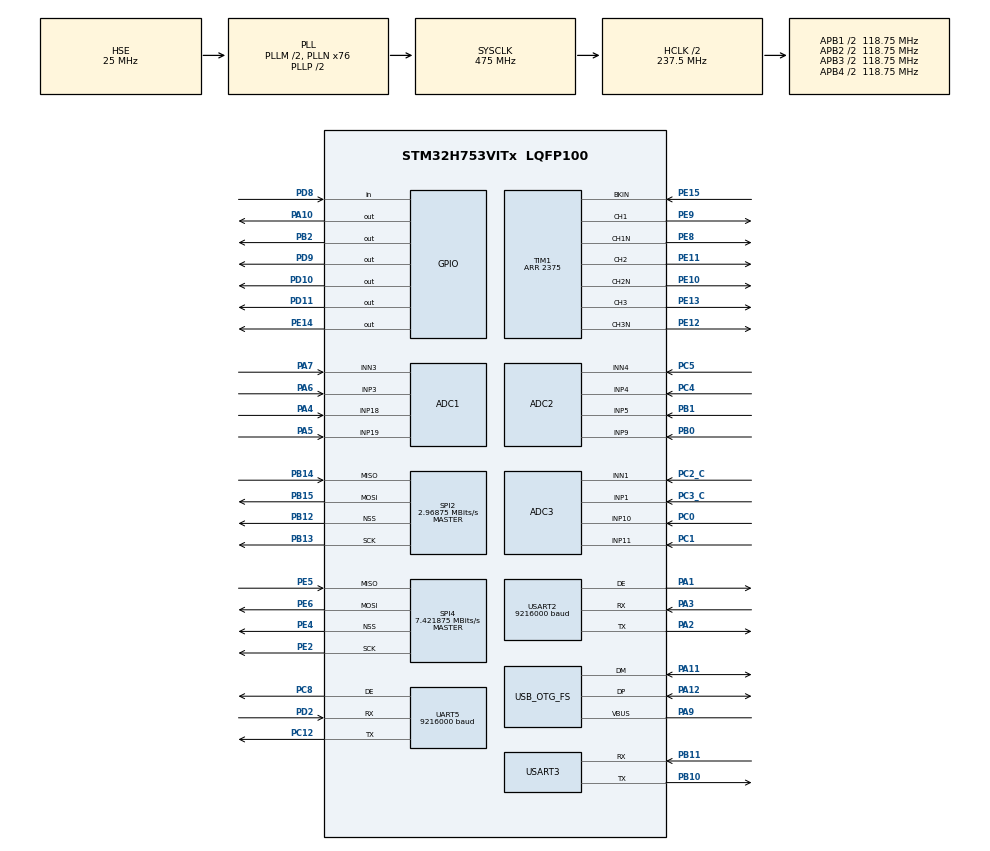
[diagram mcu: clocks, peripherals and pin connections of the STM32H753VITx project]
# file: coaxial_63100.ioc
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ADC1.Channel-0\#ChannelRegularConversion=ADC_CHANNEL_3
ADC1.ClockPrescaler=ADC_CLOCK_ASYNC_DIV2
ADC1.NbrOfConversionFlag=1
ADC1.OffsetNumber-0\#ChannelRegularConversion=ADC_OFFSET_NONE
ADC1.OffsetSignedSaturation-0\#ChannelRegularConversion=DISABLE
ADC1.Rank-0\#ChannelRegularConversion=1
ADC1.SamplingTime-0\#ChannelRegularConversion=ADC_SAMPLETIME_1CYCLE_5
ADC1.SingleDiff-0\#ChannelRegularConversion=ADC_DIFFERENTIAL_ENDED
ADC1.master=1
ADC2.Channel-1\#ChannelRegularConversion=ADC_CHANNEL_4
ADC2.ClockPrescaler=ADC_CLOCK_ASYNC_DIV2
ADC2.NbrOfConversionFlag=1
ADC2.OffsetNumber-1\#ChannelRegularConversion=ADC_OFFSET_NONE
ADC2.OffsetSignedSaturation-1\#ChannelRegularConversion=DISABLE
ADC2.Rank-1\#ChannelRegularConversion=1
ADC2.SamplingTime-1\#ChannelRegularConversion=ADC_SAMPLETIME_1CYCLE_5
ADC2.SingleDiff-1\#ChannelRegularConversion=ADC_DIFFERENTIAL_ENDED
ADC3.Channel-0\#ChannelRegularConversion=ADC_CHANNEL_1
ADC3.ClockPrescaler=ADC_CLOCK_ASYNC_DIV2
ADC3.NbrOfConversionFlag=1
ADC3.OffsetNumber-0\#ChannelRegularConversion=ADC_OFFSET_NONE
ADC3.OffsetSignedSaturation-0\#ChannelRegularConversion=DISABLE
ADC3.Rank-0\#ChannelRegularConversion=1
ADC3.SamplingTime-0\#ChannelRegularConversion=ADC_SAMPLETIME_1CYCLE_5
ADC3.SingleDiff-0\#ChannelRegularConversion=ADC_DIFFERENTIAL_ENDED
CORTEX_M7.default_mode_Activation=1
Mcu.Family=STM32H7
Mcu.Name=STM32H753VITx
Mcu.Package=LQFP100
NVIC.ADC3_IRQn=true\:1\:0\:false\:false\:true\:true\:true\:true
NVIC.OTG_FS_IRQn=true\:5\:0\:false\:false\:true\:true\:true\:true
NVIC.PriorityGroup=NVIC_PRIORITYGROUP_4
PA1.Mode=Hardware Flow Control (RS485)
PA1.Signal=USART2_DE
PA10.Signal=GPIO_Output
PA11.Mode=Device_Only
PA11.Signal=USB_OTG_FS_DM
PA12.Mode=Device_Only
PA12.Signal=USB_OTG_FS_DP
PA13\ (JTMS/SWDIO).Mode=JTAG_5_pins
PA13\ (JTMS/SWDIO).Signal=DEBUG_JTMS-SWDIO
PA14\ (JTCK/SWCLK).Mode=JTAG_5_pins
PA14\ (JTCK/SWCLK).Signal=DEBUG_JTCK-SWCLK
PA15\ (JTDI).Mode=JTAG_5_pins
PA15\ (JTDI).Signal=DEBUG_JTDI
PA2.Mode=Asynchronous
PA2.Signal=USART2_TX
PA3.Mode=Asynchronous
PA3.Signal=USART2_RX
PA4.Signal=ADCx_INP18
PA5.Signal=ADCx_INP19
PA6.Signal=ADCx_INP3
PA7.Signal=ADCx_INN3
PA9.Mode=Activate_VBUS
PA9.Signal=USB_OTG_FS_VBUS
PB0.Signal=ADCx_INP9
PB1.Signal=ADCx_INP5
PB10.Mode=Asynchronous
PB10.Signal=USART3_TX
PB11.Mode=Asynchronous
PB11.Signal=USART3_RX
PB12.Mode=NSS_Signal_Hard_Output
PB12.Signal=SPI2_NSS
PB13.Mode=Full_Duplex_Master
PB13.Signal=SPI2_SCK
PB14.Mode=Full_Duplex_Master
PB14.Signal=SPI2_MISO
PB15.Mode=Full_Duplex_Master
PB15.Signal=SPI2_MOSI
PB2.Signal=GPIO_Output
PB3\ (JTDO/TRACESWO).Mode=JTAG_5_pins
PB3\ (JTDO/TRACESWO).Signal=DEBUG_JTDO-SWO
PB4\ (NJTRST).Mode=JTAG_5_pins
PB4\ (NJTRST).Signal=DEBUG_JTRST
PC0.Signal=ADCx_INP10
PC1.Signal=ADCx_INP11
PC12.Mode=Asynchronous
PC12.Signal=UART5_TX
PC2_C.Mode=IN1-Differential
PC2_C.Signal=ADC3_INN1
PC3_C.Mode=IN1-Differential
PC3_C.Signal=ADC3_INP1
PC4.Signal=ADCx_INP4
PC5.Signal=ADCx_INN4
PC8.Mode=Hardware Flow Control (RS485)
PC8.Signal=UART5_DE
PD10.Signal=GPIO_Output
PD11.Signal=GPIO_Output
PD2.Mode=Asynchronous
PD2.Signal=UART5_RX
PD8.Signal=GPIO_Input
PD9.Signal=GPIO_Output
PE10.GPIO_Speed=GPIO_SPEED_FREQ_VERY_HIGH
PE10.Mode=PWM Generation2 CH2 CH2N
PE10.Signal=TIM1_CH2N
PE11.GPIO_Speed=GPIO_SPEED_FREQ_VERY_HIGH
PE11.Signal=S_TIM1_CH2
PE12.GPIO_Speed=GPIO_SPEED_FREQ_VERY_HIGH
PE12.Mode=PWM Generation3 CH3 CH3N
PE12.Signal=TIM1_CH3N
PE13.GPIO_Speed=GPIO_SPEED_FREQ_VERY_HIGH
PE13.Signal=S_TIM1_CH3
PE14.Signal=GPIO_Output
PE15.Mode=Activate-Break-Input
PE15.Signal=TIM1_BKIN
PE2.Mode=Full_Duplex_Master
PE2.Signal=SPI4_SCK
PE4.Mode=NSS_Signal_Hard_Output
PE4.Signal=SPI4_NSS
PE5.Mode=Full_Duplex_Master
PE5.Signal=SPI4_MISO
PE6.Mode=Full_Duplex_Master
PE6.Signal=SPI4_MOSI
PE8.GPIO_Speed=GPIO_SPEED_FREQ_VERY_HIGH
PE8.Mode=PWM Generation1 CH1 CH1N
PE8.Signal=TIM1_CH1N
PE9.GPIO_Speed=GPIO_SPEED_FREQ_VERY_HIGH
PE9.Signal=S_TIM1_CH1
PH0-OSC_IN\ (PH0).Mode=HSE-External-Oscillator
PH0-OSC_IN\ (PH0).Signal=RCC_OSC_IN
PH1-OSC_OUT\ (PH1).Mode=HSE-External-Oscillator
PH1-OSC_OUT\ (PH1).Signal=RCC_OSC_OUT
ProjectManager.HeapSize=0x200
ProjectManager.StackSize=0x400
ProjectManager.TargetToolchain=CMake
RCC.ADCFreq_Value=75000000
RCC.APB1Freq_Value=118750000
RCC.APB2Freq_Value=118750000
RCC.APB3Freq_Value=118750000
RCC.APB4Freq_Value=118750000
RCC.CortexFreq_Value=475000000
RCC.D1PPRE=RCC_APB3_DIV2
RCC.D2PPRE1=RCC_APB1_DIV2
RCC.D2PPRE2=RCC_APB2_DIV2
RCC.D3PPRE=RCC_APB4_DIV2
RCC.DIVM1=2
RCC.DIVM2=2
RCC.DIVM3=5
RCC.DIVN1=76
RCC.DIVN2=12
RCC.DIVN3=96
RCC.DIVQ1=5
RCC.DIVQ3=10
RCC.DIVR1=12
RCC.HCLKFreq_Value=237500000
RCC.HPRE=RCC_HCLK_DIV2
RCC.PLL2FRACN=0
RCC.PLL3FRACN=0
RCC.PLL3RGE=RCC_PLL3VCIRANGE_2
RCC.PLL3VCOSEL=RCC_PLL3VCOWIDE
RCC.PLLFRACN=0
RCC.PLLSourceVirtual=RCC_PLLSOURCE_HSE
RCC.SYSCLKFreq_VALUE=475000000
RCC.SYSCLKSource=RCC_SYSCLKSOURCE_PLLCLK
RCC.USBCLockSelection=RCC_USBCLKSOURCE_PLL3
RCC.USBFreq_Value=48000000
SH.ADCx_INN3.0=ADC1_INN3,IN3-Differential
SH.ADCx_INN4.0=ADC2_INN4,IN4-Differential
SH.ADCx_INP10.0=ADC3_INP10,IN10-Single-Ended
SH.ADCx_INP11.0=ADC3_INP11,IN11-Single-Ended
SH.ADCx_INP18.0=ADC1_INP18,IN18-Single-Ended
SH.ADCx_INP19.0=ADC1_INP19,IN19-Single-Ended
SH.ADCx_INP3.0=ADC1_INP3,IN3-Differential
SH.ADCx_INP4.0=ADC2_INP4,IN4-Differential
SH.ADCx_INP5.0=ADC2_INP5,IN5-Single-Ended
SH.ADCx_INP9.0=ADC2_INP9,IN9-Single-Ended
SH.S_TIM1_CH1.0=TIM1_CH1,PWM Generation1 CH1 CH1N
SH.S_TIM1_CH2.0=TIM1_CH2,PWM Generation2 CH2 CH2N
SH.S_TIM1_CH3.0=TIM1_CH3,PWM Generation3 CH3 CH3N
SPI2.BaudRatePrescaler=SPI_BAUDRATEPRESCALER_64
SPI2.CLKPhase=SPI_PHASE_2EDGE
SPI2.CLKPolarity=SPI_POLARITY_HIGH
SPI2.CalculateBaudRate=2.96875 MBits/s
SPI2.DataSize=SPI_DATASIZE_8BIT
SPI2.Direction=SPI_DIRECTION_2LINES
SPI2.Mode=SPI_MODE_MASTER
SPI2.VirtualNSS=VM_NSSHARD
SPI2.VirtualType=VM_MASTER
SPI4.BaudRatePrescaler=SPI_BAUDRATEPRESCALER_16
SPI4.CLKPhase=SPI_PHASE_2EDGE
SPI4.CLKPolarity=SPI_POLARITY_HIGH
SPI4.CalculateBaudRate=7.421875 MBits/s
SPI4.DataSize=SPI_DATASIZE_8BIT
SPI4.Direction=SPI_DIRECTION_2LINES
SPI4.Mode=SPI_MODE_MASTER
SPI4.VirtualNSS=VM_NSSHARD
SPI4.VirtualType=VM_MASTER
TIM1.AutoReloadPreload=TIM_AUTORELOAD_PRELOAD_ENABLE
TIM1.BreakPolarity=TIM_BREAKPOLARITY_LOW
TIM1.Channel-PWM\ Generation1\ CH1\ CH1N=TIM_CHANNEL_1
TIM1.Channel-PWM\ Generation2\ CH2\ CH2N=TIM_CHANNEL_2
TIM1.Channel-PWM\ Generation3\ CH3\ CH3N=TIM_CHANNEL_3
TIM1.Channel-PWM\ Generation5\ No\ Output=TIM_CHANNEL_5
TIM1.CounterMode=TIM_COUNTERMODE_CENTERALIGNED3
TIM1.DeadTime=19
TIM1.OffStateIDLEMode=TIM_OSSI_ENABLE
TIM1.OffStateRunMode=TIM_OSSR_ENABLE
TIM1.Period=2375
TIM1.RepetitionCounter=1
UART5.BaudRate=9216000
UART5.OverSampling=UART_OVERSAMPLING_8
USART2.BaudRate=9216000
USART2.OverSampling=UART_OVERSAMPLING_8
USART2.VirtualMode-Asynchronous=VM_ASYNC
USART2.VirtualMode-Hardware\ Flow\ Control\ (RS485)=VM_ASYNC
USART3.VirtualMode-Asynchronous=VM_ASYNC
USB_OTG_FS.VirtualMode=Device_Only
USB_OTG_FS.battery_charging_enable=DISABLE
VP_MEMORYMAP_VS_MEMORYMAP.Mode=CurAppReg
VP_TIM1_VS_ClockSourceINT.Mode=Internal
VP_TIM1_VS_no_output5.Mode=PWM Generation5 No Output
VP_VREFBUF_V_VREFBUF.Mode=ExternalMode
board=custom

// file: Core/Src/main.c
/* USER CODE BEGIN Header */
/**
  ******************************************************************************
  * @file           : main.c
  * @brief          : Main program body
  ******************************************************************************
  * @attention
  *
  * Copyright (c) 2026 STMicroelectronics.
  * All rights reserved.
  *
  * This software is licensed under terms that can be found in the LICENSE file
  * in the root directory of this software component.
  * If no LICENSE file comes with this software, it is provided AS-IS.
  *
  ******************************************************************************
  */
/* USER CODE END Header */
#include "main.h"

/* USER CODE BEGIN Includes */
#include "board.h"
#include "board_drive.h"
#include "board_power.h"
#include "console.h"
#include "link.h"
/* USER CODE END Includes */

ADC_HandleTypeDef hadc1;
ADC_HandleTypeDef hadc2;
ADC_HandleTypeDef hadc3;

SPI_HandleTypeDef hspi2;
SPI_HandleTypeDef hspi4;

TIM_HandleTypeDef htim1;

UART_HandleTypeDef huart5;
UART_HandleTypeDef huart2;
UART_HandleTypeDef huart3;

PCD_HandleTypeDef hpcd_USB_OTG_FS;

void SystemClock_Config(void);
void PeriphCommonClock_Config(void);
static void MPU_Config(void);
static void MX_GPIO_Init(void);
static void MX_USART3_UART_Init(void);
static void MX_ADC1_Init(void);
static void MX_ADC2_Init(void);
static void MX_ADC3_Init(void);
static void MX_SPI2_Init(void);
static void MX_SPI4_Init(void);
static void MX_UART5_Init(void);
static void MX_USART2_UART_Init(void);
static void MX_TIM1_Init(void);
static void MX_USB_OTG_FS_PCD_Init(void);

int main(void)
{

  /* MPU Configuration--------------------------------------------------------*/
  MPU_Config();

  /* MCU Configuration--------------------------------------------------------*/

  /* Reset of all peripherals, Initializes the Flash interface and the Systick. */
  HAL_Init();

  /* Configure the system clock */
  SystemClock_Config();

  /* Configure the peripherals common clocks */
  PeriphCommonClock_Config();

  /* Initialize all configured peripherals */
  MX_GPIO_Init();
  MX_USART3_UART_Init();
  MX_ADC1_Init();
  MX_ADC2_Init();
  MX_ADC3_Init();
  MX_SPI2_Init();
  MX_SPI4_Init();
  MX_UART5_Init();
  MX_USART2_UART_Init();
  MX_TIM1_Init();
  MX_USB_OTG_FS_PCD_Init();
  /* USER CODE BEGIN 2 */

  /* Gates down first. MX_TIM1_Init leaves MOE and CCxE clear, which is
     Hi-Z on six gate driver inputs; this drives them to their idle
     level. */
  Board_PwmInit();

  /* Before anything reads a channel: the scaling parameters and the
     per-channel corrections come out of flash here, or fall back to the
     schematic's numbers. */
  Board_CalInit();

  /* The dead time comes from the record, and so has to wait for it. Board_
     PwmInit runs first because it drives the gates down, and it cannot wait
     on flash to do that - so the .ioc's value stands for those few
     microseconds and this replaces it. Nothing is armed in between. */
  (void)Board_PwmSetDeadTime(Board_Cal()->deadtime_ns);
  (void)Board_PwmSetDeadTimeSkew((int8_t)Board_Cal()->deadtime_skew);

  /* Differential-mode offset calibration, recommended before first use for
     absolute accuracy rather than mere repeatability. Note that it runs with
     AFE_ON still low, so it calibrates against an unpowered input - which is
     why the offsets vary by about 100 mV from boot to boot. */
  if (HAL_ADCEx_Calibration_Start(&hadc1, ADC_CALIB_OFFSET, ADC_DIFFERENTIAL_ENDED) != HAL_OK ||
      HAL_ADCEx_Calibration_Start(&hadc2, ADC_CALIB_OFFSET, ADC_DIFFERENTIAL_ENDED) != HAL_OK ||
      HAL_ADCEx_Calibration_Start(&hadc3, ADC_CALIB_OFFSET, ADC_DIFFERENTIAL_ENDED) != HAL_OK)
  {
    Error_Handler();
  }

  Board_TimebaseInit();
  link_init();
  Console_Banner();

  /* The thermal observer. Starts on the NTC if the AFE happens to be up,
     otherwise on a guess the anchoring removes within a few minutes. */
  Board_ThermalInit();

  /* The control law: parameters out of the record, the period off TIM1.
     Nothing switches until a host asks for a mode. */
  Board_DriveInit();

  /* USER CODE END 2 */

  /* Infinite loop */
  /* USER CODE BEGIN WHILE */
  while (1)
  {
    /* First, and outside every branch below: the STO chain's only
       evidence that main() is still turning. link_active() does a
       `continue`, so anything further down stops the moment Modbus
       gets busy - and a keepalive that stops when the board is busy
       is a keepalive that lies. */
    Board_StoKeepalive();

    /* Beside it, and for the same reason: this is what gives a rail
       back when its owner stopped running, so it cannot sit behind
       the branch that starved the owner. */
    Board_PowerPoll();

    /* The IMU polls itself into shared memory; the host only ever reads that.
       Held off mid-frame because a 276-byte cargo at 1.48 MHz is 1.5 ms, and
       RTU delimits frames by silence. */
    if (!link_busy())
    {
      Board_ImuPoll();
      Board_AnglePoll();
      Board_DaqPoll();

      /* Arithmetic over cached state plus one NTC read, gated to 10 Hz
         inside. Here rather than above the branch because it reads a
         channel, and a converter read mid-frame is what the branch is
         for. */
      Board_ThermalPoll();
    }

    if (link_active())
    {
      /* Modbus owns USART3. No console polling and, above all, no printf:
         a blocking transmit in the middle of a frame would corrupt RTU
         framing and stall reception long enough to latch an overrun. */
      link_poll();
      continue;
    }

    Console_Poll();

    /* USER CODE END WHILE */

  }
}

void SystemClock_Config(void)
{
  RCC_OscInitTypeDef RCC_OscInitStruct = {0};
  RCC_ClkInitTypeDef RCC_ClkInitStruct = {0};

  /** Supply configuration update enable
  */
  HAL_PWREx_ConfigSupply(PWR_LDO_SUPPLY);

  /** Configure the main internal regulator output voltage
  */
  __HAL_PWR_VOLTAGESCALING_CONFIG(PWR_REGULATOR_VOLTAGE_SCALE0);

  while(!__HAL_PWR_GET_FLAG(PWR_FLAG_VOSRDY)) {}

  /** Initializes the RCC Oscillators according to the specified parameters
  * in the RCC_OscInitTypeDef structure.
  */
  RCC_OscInitStruct.OscillatorType = RCC_OSCILLATORTYPE_HSE;
  RCC_OscInitStruct.HSEState = RCC_HSE_ON;
  RCC_OscInitStruct.PLL.PLLState = RCC_PLL_ON;
  RCC_OscInitStruct.PLL.PLLSource = RCC_PLLSOURCE_HSE;
  RCC_OscInitStruct.PLL.PLLM = 2;
  RCC_OscInitStruct.PLL.PLLN = 76;
  RCC_OscInitStruct.PLL.PLLP = 2;
  RCC_OscInitStruct.PLL.PLLQ = 5;
  RCC_OscInitStruct.PLL.PLLR = 12;
  RCC_OscInitStruct.PLL.PLLRGE = RCC_PLL1VCIRANGE_3;
  RCC_OscInitStruct.PLL.PLLVCOSEL = RCC_PLL1VCOWIDE;
  RCC_OscInitStruct.PLL.PLLFRACN = 0;
  if (HAL_RCC_OscConfig(&RCC_OscInitStruct) != HAL_OK)
  {
    Error_Handler();
  }

  /** Initializes the CPU, AHB and APB buses clocks
  */
  RCC_ClkInitStruct.ClockType = RCC_CLOCKTYPE_HCLK|RCC_CLOCKTYPE_SYSCLK
                              |RCC_CLOCKTYPE_PCLK1|RCC_CLOCKTYPE_PCLK2
                              |RCC_CLOCKTYPE_D3PCLK1|RCC_CLOCKTYPE_D1PCLK1;
  RCC_ClkInitStruct.SYSCLKSource = RCC_SYSCLKSOURCE_PLLCLK;
  RCC_ClkInitStruct.SYSCLKDivider = RCC_SYSCLK_DIV1;
  RCC_ClkInitStruct.AHBCLKDivider = RCC_HCLK_DIV2;
  RCC_ClkInitStruct.APB3CLKDivider = RCC_APB3_DIV2;
  RCC_ClkInitStruct.APB1CLKDivider = RCC_APB1_DIV2;
  RCC_ClkInitStruct.APB2CLKDivider = RCC_APB2_DIV2;
  RCC_ClkInitStruct.APB4CLKDivider = RCC_APB4_DIV2;

  if (HAL_RCC_ClockConfig(&RCC_ClkInitStruct, FLASH_LATENCY_4) != HAL_OK)
  {
    Error_Handler();
  }
}

void PeriphCommonClock_Config(void)
{
  RCC_PeriphCLKInitTypeDef PeriphClkInitStruct = {0};

  /** Initializes the peripherals clock
  */
  PeriphClkInitStruct.PeriphClockSelection = RCC_PERIPHCLK_ADC;
  PeriphClkInitStruct.PLL2.PLL2M = 2;
  PeriphClkInitStruct.PLL2.PLL2N = 12;
  PeriphClkInitStruct.PLL2.PLL2P = 2;
  PeriphClkInitStruct.PLL2.PLL2Q = 2;
  PeriphClkInitStruct.PLL2.PLL2R = 2;
  PeriphClkInitStruct.PLL2.PLL2RGE = RCC_PLL2VCIRANGE_3;
  PeriphClkInitStruct.PLL2.PLL2VCOSEL = RCC_PLL2VCOMEDIUM;
  PeriphClkInitStruct.PLL2.PLL2FRACN = 0;
  PeriphClkInitStruct.PLL3.PLL3RGE = RCC_PLL3VCIRANGE_2;
  PeriphClkInitStruct.AdcClockSelection = RCC_ADCCLKSOURCE_PLL2;
  if (HAL_RCCEx_PeriphCLKConfig(&PeriphClkInitStruct) != HAL_OK)
  {
    Error_Handler();
  }
}

static void MX_ADC1_Init(void)
{

  ADC_MultiModeTypeDef multimode = {0};
  ADC_ChannelConfTypeDef sConfig = {0};

  /** Common config
  */
  hadc1.Instance = ADC1;
  hadc1.Init.ClockPrescaler = ADC_CLOCK_ASYNC_DIV2;
  hadc1.Init.Resolution = ADC_RESOLUTION_16B;
  hadc1.Init.ScanConvMode = ADC_SCAN_DISABLE;
  hadc1.Init.EOCSelection = ADC_EOC_SINGLE_CONV;
  hadc1.Init.LowPowerAutoWait = DISABLE;
  hadc1.Init.ContinuousConvMode = DISABLE;
  hadc1.Init.NbrOfConversion = 1;
  hadc1.Init.DiscontinuousConvMode = DISABLE;
  hadc1.Init.ExternalTrigConv = ADC_SOFTWARE_START;
  hadc1.Init.ExternalTrigConvEdge = ADC_EXTERNALTRIGCONVEDGE_NONE;
  hadc1.Init.ConversionDataManagement = ADC_CONVERSIONDATA_DR;
  hadc1.Init.Overrun = ADC_OVR_DATA_PRESERVED;
  hadc1.Init.LeftBitShift = ADC_LEFTBITSHIFT_NONE;
  hadc1.Init.OversamplingMode = DISABLE;
  hadc1.Init.Oversampling.Ratio = 1;
  if (HAL_ADC_Init(&hadc1) != HAL_OK)
  {
    Error_Handler();
  }

  /** Configure the ADC multi-mode
  */
  multimode.Mode = ADC_MODE_INDEPENDENT;
  if (HAL_ADCEx_MultiModeConfigChannel(&hadc1, &multimode) != HAL_OK)
  {
    Error_Handler();
  }

  /** Configure Regular Channel
  */
  sConfig.Channel = ADC_CHANNEL_3;
  sConfig.Rank = ADC_REGULAR_RANK_1;
  sConfig.SamplingTime = ADC_SAMPLETIME_1CYCLE_5;
  sConfig.SingleDiff = ADC_DIFFERENTIAL_ENDED;
  sConfig.OffsetNumber = ADC_OFFSET_NONE;
  sConfig.Offset = 0;
  sConfig.OffsetSignedSaturation = DISABLE;
  if (HAL_ADC_ConfigChannel(&hadc1, &sConfig) != HAL_OK)
  {
    Error_Handler();
  }

}

static void MX_ADC2_Init(void)
{

  ADC_ChannelConfTypeDef sConfig = {0};

  /** Common config
  */
  hadc2.Instance = ADC2;
  hadc2.Init.ClockPrescaler = ADC_CLOCK_ASYNC_DIV2;
  hadc2.Init.Resolution = ADC_RESOLUTION_16B;
  hadc2.Init.ScanConvMode = ADC_SCAN_DISABLE;
  hadc2.Init.EOCSelection = ADC_EOC_SINGLE_CONV;
  hadc2.Init.LowPowerAutoWait = DISABLE;
  hadc2.Init.ContinuousConvMode = DISABLE;
  hadc2.Init.NbrOfConversion = 1;
  hadc2.Init.DiscontinuousConvMode = DISABLE;
  hadc2.Init.ExternalTrigConv = ADC_SOFTWARE_START;
  hadc2.Init.ExternalTrigConvEdge = ADC_EXTERNALTRIGCONVEDGE_NONE;
  hadc2.Init.ConversionDataManagement = ADC_CONVERSIONDATA_DR;
  hadc2.Init.Overrun = ADC_OVR_DATA_PRESERVED;
  hadc2.Init.LeftBitShift = ADC_LEFTBITSHIFT_NONE;
  hadc2.Init.OversamplingMode = DISABLE;
  hadc2.Init.Oversampling.Ratio = 1;
  if (HAL_ADC_Init(&hadc2) != HAL_OK)
  {
    Error_Handler();
  }

  /** Configure Regular Channel
  */
  sConfig.Channel = ADC_CHANNEL_4;
  sConfig.Rank = ADC_REGULAR_RANK_1;
  sConfig.SamplingTime = ADC_SAMPLETIME_1CYCLE_5;
  sConfig.SingleDiff = ADC_DIFFERENTIAL_ENDED;
  sConfig.OffsetNumber = ADC_OFFSET_NONE;
  sConfig.Offset = 0;
  sConfig.OffsetSignedSaturation = DISABLE;
  if (HAL_ADC_ConfigChannel(&hadc2, &sConfig) != HAL_OK)
  {
    Error_Handler();
  }

}

static void MX_ADC3_Init(void)
{

  ADC_ChannelConfTypeDef sConfig = {0};

  /** Common config
  */
  hadc3.Instance = ADC3;
  hadc3.Init.ClockPrescaler = ADC_CLOCK_ASYNC_DIV1;
  hadc3.Init.ScanConvMode = ADC_SCAN_DISABLE;
  hadc3.Init.EOCSelection = ADC_EOC_SINGLE_CONV;
  hadc3.Init.LowPowerAutoWait = DISABLE;
  hadc3.Init.ContinuousConvMode = DISABLE;
  hadc3.Init.NbrOfConversion = 1;
  hadc3.Init.DiscontinuousConvMode = DISABLE;
  hadc3.Init.ExternalTrigConv = ADC_SOFTWARE_START;
  hadc3.Init.ExternalTrigConvEdge = ADC_EXTERNALTRIGCONVEDGE_NONE;
  hadc3.Init.ConversionDataManagement = ADC_CONVERSIONDATA_DR;
  hadc3.Init.Overrun = ADC_OVR_DATA_PRESERVED;
  hadc3.Init.LeftBitShift = ADC_LEFTBITSHIFT_NONE;
  hadc3.Init.OversamplingMode = DISABLE;
  hadc3.Init.Oversampling.Ratio = 1;
  if (HAL_ADC_Init(&hadc3) != HAL_OK)
  {
    Error_Handler();
  }
  hadc3.Init.ClockPrescaler = ADC_CLOCK_ASYNC_DIV2;
  hadc3.Init.Resolution = ADC_RESOLUTION_16B;
  if (HAL_ADC_Init(&hadc3) != HAL_OK)
  {
    Error_Handler();
  }

  /** Configure Regular Channel
  */
  sConfig.Channel = ADC_CHANNEL_1;
  sConfig.Rank = ADC_REGULAR_RANK_1;
  sConfig.SamplingTime = ADC_SAMPLETIME_1CYCLE_5;
  sConfig.SingleDiff = ADC_DIFFERENTIAL_ENDED;
  sConfig.OffsetNumber = ADC_OFFSET_NONE;
  sConfig.Offset = 0;
  sConfig.OffsetSignedSaturation = DISABLE;
  if (HAL_ADC_ConfigChannel(&hadc3, &sConfig) != HAL_OK)
  {
    Error_Handler();
  }
  /* USER CODE BEGIN ADC3_Init 2 */

  /* CH10 (PC0, single-ended) is configured dynamically per read in
     ADC3_ReadBoth() instead of as a fixed second rank here - see that
     function's comment for why. */

  /* USER CODE END ADC3_Init 2 */

}

static void MX_SPI2_Init(void)
{

  /* SPI2 parameter configuration*/
  hspi2.Instance = SPI2;
  hspi2.Init.Mode = SPI_MODE_MASTER;
  hspi2.Init.Direction = SPI_DIRECTION_2LINES;
  hspi2.Init.DataSize = SPI_DATASIZE_8BIT;
  hspi2.Init.CLKPolarity = SPI_POLARITY_HIGH;
  hspi2.Init.CLKPhase = SPI_PHASE_2EDGE;
  hspi2.Init.NSS = SPI_NSS_HARD_OUTPUT;
  hspi2.Init.BaudRatePrescaler = SPI_BAUDRATEPRESCALER_64;
  hspi2.Init.FirstBit = SPI_FIRSTBIT_MSB;
  hspi2.Init.TIMode = SPI_TIMODE_DISABLE;
  hspi2.Init.CRCCalculation = SPI_CRCCALCULATION_DISABLE;
  hspi2.Init.CRCPolynomial = 0x0;
  hspi2.Init.NSSPMode = SPI_NSS_PULSE_ENABLE;
  hspi2.Init.NSSPolarity = SPI_NSS_POLARITY_LOW;
  hspi2.Init.FifoThreshold = SPI_FIFO_THRESHOLD_01DATA;
  hspi2.Init.TxCRCInitializationPattern = SPI_CRC_INITIALIZATION_ALL_ZERO_PATTERN;
  hspi2.Init.RxCRCInitializationPattern = SPI_CRC_INITIALIZATION_ALL_ZERO_PATTERN;
  hspi2.Init.MasterSSIdleness = SPI_MASTER_SS_IDLENESS_00CYCLE;
  hspi2.Init.MasterInterDataIdleness = SPI_MASTER_INTERDATA_IDLENESS_00CYCLE;
  hspi2.Init.MasterReceiverAutoSusp = SPI_MASTER_RX_AUTOSUSP_DISABLE;
  hspi2.Init.MasterKeepIOState = SPI_MASTER_KEEP_IO_STATE_DISABLE;
  hspi2.Init.IOSwap = SPI_IO_SWAP_DISABLE;
  if (HAL_SPI_Init(&hspi2) != HAL_OK)
  {
    Error_Handler();
  }

}

static void MX_SPI4_Init(void)
{

  /* SPI4 parameter configuration*/
  hspi4.Instance = SPI4;
  hspi4.Init.Mode = SPI_MODE_MASTER;
  hspi4.Init.Direction = SPI_DIRECTION_2LINES;
  hspi4.Init.DataSize = SPI_DATASIZE_8BIT;
  hspi4.Init.CLKPolarity = SPI_POLARITY_HIGH;
  hspi4.Init.CLKPhase = SPI_PHASE_2EDGE;
  hspi4.Init.NSS = SPI_NSS_HARD_OUTPUT;
  hspi4.Init.BaudRatePrescaler = SPI_BAUDRATEPRESCALER_16;
  hspi4.Init.FirstBit = SPI_FIRSTBIT_MSB;
  hspi4.Init.TIMode = SPI_TIMODE_DISABLE;
  hspi4.Init.CRCCalculation = SPI_CRCCALCULATION_DISABLE;
  hspi4.Init.CRCPolynomial = 0x0;
  hspi4.Init.NSSPMode = SPI_NSS_PULSE_ENABLE;
  hspi4.Init.NSSPolarity = SPI_NSS_POLARITY_LOW;
  hspi4.Init.FifoThreshold = SPI_FIFO_THRESHOLD_01DATA;
  hspi4.Init.TxCRCInitializationPattern = SPI_CRC_INITIALIZATION_ALL_ZERO_PATTERN;
  hspi4.Init.RxCRCInitializationPattern = SPI_CRC_INITIALIZATION_ALL_ZERO_PATTERN;
  hspi4.Init.MasterSSIdleness = SPI_MASTER_SS_IDLENESS_00CYCLE;
  hspi4.Init.MasterInterDataIdleness = SPI_MASTER_INTERDATA_IDLENESS_00CYCLE;
  hspi4.Init.MasterReceiverAutoSusp = SPI_MASTER_RX_AUTOSUSP_DISABLE;
  hspi4.Init.MasterKeepIOState = SPI_MASTER_KEEP_IO_STATE_DISABLE;
  hspi4.Init.IOSwap = SPI_IO_SWAP_DISABLE;
  if (HAL_SPI_Init(&hspi4) != HAL_OK)
  {
    Error_Handler();
  }

}

static void MX_TIM1_Init(void)
{

  TIM_ClockConfigTypeDef sClockSourceConfig = {0};
  TIM_MasterConfigTypeDef sMasterConfig = {0};
  TIMEx_BreakInputConfigTypeDef sBreakInputConfig = {0};
  TIM_OC_InitTypeDef sConfigOC = {0};
  TIM_BreakDeadTimeConfigTypeDef sBreakDeadTimeConfig = {0};

  htim1.Instance = TIM1;
  htim1.Init.Prescaler = 0;
  htim1.Init.CounterMode = TIM_COUNTERMODE_CENTERALIGNED3;
  htim1.Init.Period = 2375;
  htim1.Init.ClockDivision = TIM_CLOCKDIVISION_DIV1;
  htim1.Init.RepetitionCounter = 1;
  htim1.Init.AutoReloadPreload = TIM_AUTORELOAD_PRELOAD_ENABLE;
  if (HAL_TIM_Base_Init(&htim1) != HAL_OK)
  {
    Error_Handler();
  }
  sClockSourceConfig.ClockSource = TIM_CLOCKSOURCE_INTERNAL;
  if (HAL_TIM_ConfigClockSource(&htim1, &sClockSourceConfig) != HAL_OK)
  {
    Error_Handler();
  }
  if (HAL_TIM_PWM_Init(&htim1) != HAL_OK)
  {
    Error_Handler();
  }
  sMasterConfig.MasterOutputTrigger = TIM_TRGO_RESET;
  sMasterConfig.MasterOutputTrigger2 = TIM_TRGO2_RESET;
  sMasterConfig.MasterSlaveMode = TIM_MASTERSLAVEMODE_DISABLE;
  if (HAL_TIMEx_MasterConfigSynchronization(&htim1, &sMasterConfig) != HAL_OK)
  {
    Error_Handler();
  }
  sBreakInputConfig.Source = TIM_BREAKINPUTSOURCE_BKIN;
  sBreakInputConfig.Enable = TIM_BREAKINPUTSOURCE_ENABLE;
  sBreakInputConfig.Polarity = TIM_BREAKINPUTSOURCE_POLARITY_HIGH;
  if (HAL_TIMEx_ConfigBreakInput(&htim1, TIM_BREAKINPUT_BRK, &sBreakInputConfig) != HAL_OK)
  {
    Error_Handler();
  }
  sConfigOC.OCMode = TIM_OCMODE_PWM1;
  sConfigOC.Pulse = 0;
  sConfigOC.OCPolarity = TIM_OCPOLARITY_HIGH;
  sConfigOC.OCNPolarity = TIM_OCNPOLARITY_HIGH;
  sConfigOC.OCFastMode = TIM_OCFAST_DISABLE;
  sConfigOC.OCIdleState = TIM_OCIDLESTATE_RESET;
  sConfigOC.OCNIdleState = TIM_OCNIDLESTATE_RESET;
  if (HAL_TIM_PWM_ConfigChannel(&htim1, &sConfigOC, TIM_CHANNEL_1) != HAL_OK)
  {
    Error_Handler();
  }
  if (HAL_TIM_PWM_ConfigChannel(&htim1, &sConfigOC, TIM_CHANNEL_2) != HAL_OK)
  {
    Error_Handler();
  }
  if (HAL_TIM_PWM_ConfigChannel(&htim1, &sConfigOC, TIM_CHANNEL_3) != HAL_OK)
  {
    Error_Handler();
  }
  if (HAL_TIM_PWM_ConfigChannel(&htim1, &sConfigOC, TIM_CHANNEL_5) != HAL_OK)
  {
    Error_Handler();
  }
  sBreakDeadTimeConfig.OffStateRunMode = TIM_OSSR_ENABLE;
  sBreakDeadTimeConfig.OffStateIDLEMode = TIM_OSSI_ENABLE;
  sBreakDeadTimeConfig.LockLevel = TIM_LOCKLEVEL_OFF;
  sBreakDeadTimeConfig.DeadTime = 19;
  sBreakDeadTimeConfig.BreakState = TIM_BREAK_ENABLE;
  sBreakDeadTimeConfig.BreakPolarity = TIM_BREAKPOLARITY_LOW;
  sBreakDeadTimeConfig.BreakFilter = 0;
  sBreakDeadTimeConfig.Break2State = TIM_BREAK2_DISABLE;
  sBreakDeadTimeConfig.Break2Polarity = TIM_BREAK2POLARITY_HIGH;
  sBreakDeadTimeConfig.Break2Filter = 0;
  sBreakDeadTimeConfig.AutomaticOutput = TIM_AUTOMATICOUTPUT_DISABLE;
  if (HAL_TIMEx_ConfigBreakDeadTime(&htim1, &sBreakDeadTimeConfig) != HAL_OK)
  {
    Error_Handler();
  }
  HAL_TIM_MspPostInit(&htim1);

}

static void MX_UART5_Init(void)
{

  huart5.Instance = UART5;
  huart5.Init.BaudRate = 9216000;
  huart5.Init.WordLength = UART_WORDLENGTH_8B;
  huart5.Init.StopBits = UART_STOPBITS_1;
  huart5.Init.Parity = UART_PARITY_NONE;
  huart5.Init.Mode = UART_MODE_TX_RX;
  huart5.Init.HwFlowCtl = UART_HWCONTROL_NONE;
  huart5.Init.OverSampling = UART_OVERSAMPLING_8;
  huart5.Init.OneBitSampling = UART_ONE_BIT_SAMPLE_DISABLE;
  huart5.Init.ClockPrescaler = UART_PRESCALER_DIV1;
  huart5.AdvancedInit.AdvFeatureInit = UART_ADVFEATURE_NO_INIT;
  if (HAL_RS485Ex_Init(&huart5, UART_DE_POLARITY_HIGH, 0, 0) != HAL_OK)
  {
    Error_Handler();
  }
  if (HAL_UARTEx_SetTxFifoThreshold(&huart5, UART_TXFIFO_THRESHOLD_1_8) != HAL_OK)
  {
    Error_Handler();
  }
  if (HAL_UARTEx_SetRxFifoThreshold(&huart5, UART_RXFIFO_THRESHOLD_1_8) != HAL_OK)
  {
    Error_Handler();
  }
  if (HAL_UARTEx_DisableFifoMode(&huart5) != HAL_OK)
  {
    Error_Handler();
  }

}

static void MX_USART2_UART_Init(void)
{

  huart2.Instance = USART2;
  huart2.Init.BaudRate = 9216000;
  huart2.Init.WordLength = UART_WORDLENGTH_8B;
  huart2.Init.StopBits = UART_STOPBITS_1;
  huart2.Init.Parity = UART_PARITY_NONE;
  huart2.Init.Mode = UART_MODE_TX_RX;
  huart2.Init.HwFlowCtl = UART_HWCONTROL_NONE;
  huart2.Init.OverSampling = UART_OVERSAMPLING_8;
  huart2.Init.OneBitSampling = UART_ONE_BIT_SAMPLE_DISABLE;
  huart2.Init.ClockPrescaler = UART_PRESCALER_DIV1;
  huart2.AdvancedInit.AdvFeatureInit = UART_ADVFEATURE_NO_INIT;
  if (HAL_RS485Ex_Init(&huart2, UART_DE_POLARITY_HIGH, 0, 0) != HAL_OK)
  {
    Error_Handler();
  }
  if (HAL_UARTEx_SetTxFifoThreshold(&huart2, UART_TXFIFO_THRESHOLD_1_8) != HAL_OK)
  {
    Error_Handler();
  }
  if (HAL_UARTEx_SetRxFifoThreshold(&huart2, UART_RXFIFO_THRESHOLD_1_8) != HAL_OK)
  {
    Error_Handler();
  }
  if (HAL_UARTEx_DisableFifoMode(&huart2) != HAL_OK)
  {
    Error_Handler();
  }

}

static void MX_USART3_UART_Init(void)
{

  huart3.Instance = USART3;
  huart3.Init.BaudRate = 115200;
  huart3.Init.WordLength = UART_WORDLENGTH_8B;
  huart3.Init.StopBits = UART_STOPBITS_1;
  huart3.Init.Parity = UART_PARITY_NONE;
  huart3.Init.Mode = UART_MODE_TX_RX;
  huart3.Init.HwFlowCtl = UART_HWCONTROL_NONE;
  huart3.Init.OverSampling = UART_OVERSAMPLING_16;
  huart3.Init.OneBitSampling = UART_ONE_BIT_SAMPLE_DISABLE;
  huart3.Init.ClockPrescaler = UART_PRESCALER_DIV1;
  huart3.AdvancedInit.AdvFeatureInit = UART_ADVFEATURE_NO_INIT;
  if (HAL_UART_Init(&huart3) != HAL_OK)
  {
    Error_Handler();
  }
  if (HAL_UARTEx_SetTxFifoThreshold(&huart3, UART_TXFIFO_THRESHOLD_1_8) != HAL_OK)
  {
    Error_Handler();
  }
  if (HAL_UARTEx_SetRxFifoThreshold(&huart3, UART_RXFIFO_THRESHOLD_1_8) != HAL_OK)
  {
    Error_Handler();
  }
  if (HAL_UARTEx_DisableFifoMode(&huart3) != HAL_OK)
  {
    Error_Handler();
  }

}

static void MX_USB_OTG_FS_PCD_Init(void)
{

  hpcd_USB_OTG_FS.Instance = USB_OTG_FS;
  hpcd_USB_OTG_FS.Init.dev_endpoints = 9;
  hpcd_USB_OTG_FS.Init.speed = PCD_SPEED_FULL;
  hpcd_USB_OTG_FS.Init.dma_enable = DISABLE;
  hpcd_USB_OTG_FS.Init.phy_itface = PCD_PHY_EMBEDDED;
  hpcd_USB_OTG_FS.Init.Sof_enable = DISABLE;
  hpcd_USB_OTG_FS.Init.low_power_enable = DISABLE;
  hpcd_USB_OTG_FS.Init.lpm_enable = DISABLE;
  hpcd_USB_OTG_FS.Init.battery_charging_enable = DISABLE;
  hpcd_USB_OTG_FS.Init.vbus_sensing_enable = ENABLE;
  hpcd_USB_OTG_FS.Init.use_dedicated_ep1 = DISABLE;
  if (HAL_PCD_Init(&hpcd_USB_OTG_FS) != HAL_OK)
  {
    Error_Handler();
  }

}

static void MX_GPIO_Init(void)
{
  GPIO_InitTypeDef GPIO_InitStruct = {0};

  /* GPIO Ports Clock Enable */
  __HAL_RCC_GPIOE_CLK_ENABLE();
  __HAL_RCC_GPIOH_CLK_ENABLE();
  __HAL_RCC_GPIOC_CLK_ENABLE();
  __HAL_RCC_GPIOA_CLK_ENABLE();
  __HAL_RCC_GPIOB_CLK_ENABLE();
  __HAL_RCC_GPIOD_CLK_ENABLE();

  /*Configure GPIO pin Output Level */
  HAL_GPIO_WritePin(GPIOB, GPIO_PIN_2, GPIO_PIN_RESET);

  /*Configure GPIO pin Output Level */
  HAL_GPIO_WritePin(GPIOE, GPIO_PIN_14, GPIO_PIN_RESET);

  /*Configure GPIO pin Output Level */
  HAL_GPIO_WritePin(GPIOD, GPIO_PIN_9|GPIO_PIN_10|GPIO_PIN_11, GPIO_PIN_RESET);

  /*Configure GPIO pin Output Level */
  HAL_GPIO_WritePin(GPIOA, GPIO_PIN_10, GPIO_PIN_RESET);

  /*Configure GPIO pin : PB2 */
  GPIO_InitStruct.Pin = GPIO_PIN_2;
  GPIO_InitStruct.Mode = GPIO_MODE_OUTPUT_PP;
  GPIO_InitStruct.Pull = GPIO_NOPULL;
  GPIO_InitStruct.Speed = GPIO_SPEED_FREQ_LOW;
  HAL_GPIO_Init(GPIOB, &GPIO_InitStruct);

  /*Configure GPIO pin : PE14 */
  GPIO_InitStruct.Pin = GPIO_PIN_14;
  GPIO_InitStruct.Mode = GPIO_MODE_OUTPUT_PP;
  GPIO_InitStruct.Pull = GPIO_NOPULL;
  GPIO_InitStruct.Speed = GPIO_SPEED_FREQ_LOW;
  HAL_GPIO_Init(GPIOE, &GPIO_InitStruct);

  /*Configure GPIO pin : PD8 */
  GPIO_InitStruct.Pin = GPIO_PIN_8;
  GPIO_InitStruct.Mode = GPIO_MODE_INPUT;
  GPIO_InitStruct.Pull = GPIO_NOPULL;
  HAL_GPIO_Init(GPIOD, &GPIO_InitStruct);

  /*Configure GPIO pins : PD9 PD10 PD11 */
  GPIO_InitStruct.Pin = GPIO_PIN_9|GPIO_PIN_10|GPIO_PIN_11;
  GPIO_InitStruct.Mode = GPIO_MODE_OUTPUT_PP;
  GPIO_InitStruct.Pull = GPIO_NOPULL;
  GPIO_InitStruct.Speed = GPIO_SPEED_FREQ_LOW;
  HAL_GPIO_Init(GPIOD, &GPIO_InitStruct);

  /*Configure GPIO pin : PA10 */
  GPIO_InitStruct.Pin = GPIO_PIN_10;
  GPIO_InitStruct.Mode = GPIO_MODE_OUTPUT_PP;
  GPIO_InitStruct.Pull = GPIO_NOPULL;
  GPIO_InitStruct.Speed = GPIO_SPEED_FREQ_LOW;
  HAL_GPIO_Init(GPIOA, &GPIO_InitStruct);

}

 /* MPU Configuration */

void MPU_Config(void)
{
  MPU_Region_InitTypeDef MPU_InitStruct = {0};

  /* Disables the MPU */
  HAL_MPU_Disable();

  /** Initializes and configures the Region and the memory to be protected
  */
  MPU_InitStruct.Enable = MPU_REGION_ENABLE;
  MPU_InitStruct.Number = MPU_REGION_NUMBER0;
  MPU_InitStruct.BaseAddress = 0x0;
  MPU_InitStruct.Size = MPU_REGION_SIZE_4GB;
  MPU_InitStruct.SubRegionDisable = 0x87;
  MPU_InitStruct.TypeExtField = MPU_TEX_LEVEL0;
  MPU_InitStruct.AccessPermission = MPU_REGION_NO_ACCESS;
  MPU_InitStruct.DisableExec = MPU_INSTRUCTION_ACCESS_DISABLE;
  MPU_InitStruct.IsShareable = MPU_ACCESS_SHAREABLE;
  MPU_InitStruct.IsCacheable = MPU_ACCESS_NOT_CACHEABLE;
  MPU_InitStruct.IsBufferable = MPU_ACCESS_NOT_BUFFERABLE;

  HAL_MPU_ConfigRegion(&MPU_InitStruct);
  /* Enables the MPU */
  HAL_MPU_Enable(MPU_PRIVILEGED_DEFAULT);

}

void Error_Handler(void)
{
  __disable_irq();
  while (1)
  {
  }
}
